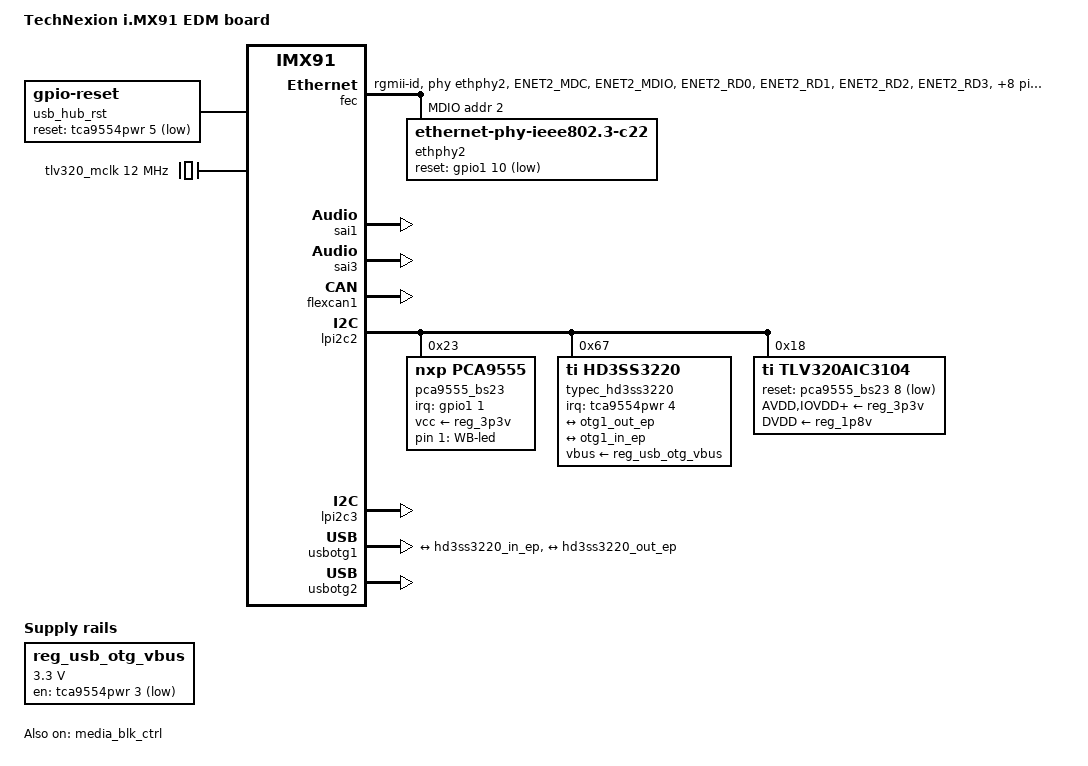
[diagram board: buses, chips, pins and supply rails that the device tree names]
// SPDX-License-Identifier: (GPL-2.0+ OR MIT)
/*
 * Copyright 2024 NXP
 */

/dts-v1/;

#include <dt-bindings/usb/pd.h>
#include <dt-bindings/pwm/pwm.h>
#include "imx91-edm.dtsi"

&ele_fw2 {
	memory-region = <&ele_reserved>;
};

/ {
	model = "TechNexion i.MX91 EDM board";
	compatible = "fsl,imx91-edm", "fsl,imx91";

	chosen {
		stdout-path = &lpuart1;
	};

	reg_usb_otg_vbus: usb_otg_vbus {
		compatible = "regulator-fixed";
		regulator-name = "usb_otg_vbus";
		regulator-min-microvolt = <3300000>;
		regulator-max-microvolt = <3300000>;
		gpio = <&tca9554pwr 3 GPIO_ACTIVE_LOW>;
		enable-active-low;
	};

	usb_hub_rst: usb_hub_rst {
		compatible = "gpio-reset";
		reset-gpios = <&tca9554pwr 5 GPIO_ACTIVE_LOW>;
		reset-delay-us = <10>;
		#reset-cells = <0>;
	};

	disp_backlight: disp_backlight {
		compatible = "pwm-backlight";
		pwms = <&tpm2 0 40000 PWM_POLARITY_INVERTED>;	/* 25KHz PWM */
		/* TPM driver seems revert the value */
		/* brightness-levels = <0 36 72 108 144 180 216 255>; */
		brightness-levels = <255 216 180 144 108 72 36 0>;
		default-brightness-level = <6>;
		power-supply = <&reg_5v>;
		status = "disabled";
	};

	tlv320_mclk: clk-0 {
		#clock-cells = <0>;
		compatible = "fixed-clock";
		clock-frequency = <12000000>;
	};

	sound {
		compatible = "simple-audio-card";
		simple-audio-card,name = "tlv320aic3x-audio";
		simple-audio-card,widgets =
			"Headphone", "Headphone Jack",
			"Microphone", "Mic Jack";
		simple-audio-card,routing =
			"Headphone Jack", "HPLOUT",
			"Headphone Jack", "HPROUT",
			"MIC2R", "Mic Jack",
			"Mic Jack", "Mic Bias";
		simple-audio-card,format = "dsp_b";
		simple-audio-card,bitclock-master = <&sound_master>;
		simple-audio-card,frame-master = <&sound_master>;
		simple-audio-card,bitclock-inversion;
		status = "okay";

		simple-audio-card,cpu {
			sound-dai = <&sai1>;
		};

		sound_master: simple-audio-card,codec {
			sound-dai = <&tlv320aic3104>;
			clocks = <&tlv320_mclk>;
		};
	};

	leds {
		compatible = "gpio-leds";

		led_1 {
			label = "WB-led";
			gpios = <&pca9555_bs23 1 GPIO_ACTIVE_HIGH>;
			default-state = "on";
		};
	};
};

&fec {
	pinctrl-names = "default", "sleep";
	pinctrl-0 = <&pinctrl_fec>;
	pinctrl-1 = <&pinctrl_fec_sleep>;
	phy-mode = "rgmii-id";
	phy-handle = <&ethphy2>;
	fsl,magic-packet;
	status = "okay";

	mdio {
		#address-cells = <1>;
		#size-cells = <0>;
		clock-frequency = <5000000>;

		ethphy2: ethernet-phy@2 {
			/* Atheros AR8035 PHY */
			compatible = "ethernet-phy-ieee802.3-c22";
			reg = <2>;
			pinctrl-names = "default";
			pinctrl-0 = <&pinctrl_fec_rst>;
			reset-gpios = <&gpio1 10 GPIO_ACTIVE_LOW>;
			reset-assert-us = <35000>;
			reset-deassert-us = <75000>;
			eee-broken-1000t;
			at803x,eee-disabled;
			at803x,vddio-1p8v;
			realtek,aldps-disable;
			realtek,clkout-disable;
		};
	};
};

&sai1 {
	status = "okay";
};

&sai3 {
	status = "okay";
};

&flexcan1 {
	status = "okay";
};

&lpi2c2 {
	status = "okay";

	pca9555_bs23: pca9555@23 {
		compatible = "nxp,pca9555";
		reg = <0x23>;
		pinctrl-names = "default";
		pinctrl-0 = <&pinctrl_pca9555_bs23>;
		vcc-supply = <&reg_3p3v>;
		gpio-controller;
		#gpio-cells = <2>;
		interrupt-controller;
		#interrupt-cells = <2>;
		interrupt-parent = <&gpio1>;
		interrupts = <1 IRQ_TYPE_EDGE_FALLING>;
		gpio-line-names = "M2_DISABLE_N", "LED_EN","USB_OTG_OC", "M2_WAN_WAKE",
			"M2_RST_N", "CSI1_PDB","", "PD_FAULT",
			"AUD_A_RST", "CAM_EXT_INT","VH_15_EXT_IO1_2", "VH_P22_EXT_IO1_3","VH_P32_EXT_IO1_4", "VH_P36_EXT_IO1_5","", "";
	};

	typec_hd3ss3220: hd3ss3220@67 {
		compatible = "ti,hd3ss3220";
		interrupts-extended = <&tca9554pwr 4 IRQ_TYPE_EDGE_FALLING>;
		vbus-supply = <&reg_usb_otg_vbus>;
		reg = <0x67>;

		ports {
			#address-cells = <1>;
			#size-cells = <0>;

			port@0 {
				reg = <0>;
				hd3ss3220_in_ep: endpoint {
					remote-endpoint = <&otg1_out_ep>;
				};
			};

			port@1 {
				reg = <1>;
				hd3ss3220_out_ep: endpoint {
					remote-endpoint = <&otg1_in_ep>;
				};
			};
		};
	};

	tlv320aic3104: audio-codec@18 {
		#sound-dai-cells = <0>;
		compatible = "ti,tlv320aic3104";
		reg = <0x18>;
		status = "okay";
		reset-gpios = <&pca9555_bs23 8 GPIO_ACTIVE_LOW>;
		ai3x-ocmv = <0>;
		ai3x-micbias-vg = <1>;		/* 2.0V */

		/* Regulators */
		AVDD-supply = <&reg_3p3v>;
		IOVDD-supply = <&reg_3p3v>;
		DRVDD-supply = <&reg_3p3v>;
		DVDD-supply = <&reg_1p8v>;
	};
};

&lpi2c3 {
	status = "okay";
};

&media_blk_ctrl {
	status = "okay";
};

&usbotg1 {
	status = "okay";

	ports {
		#address-cells = <1>;
		#size-cells = <0>;

		port@0 {
			reg = <0>;
			otg1_out_ep: endpoint {
				remote-endpoint = <&hd3ss3220_in_ep>;
			};
		};

		port@1 {
			reg = <1>;
			otg1_in_ep: endpoint {
				remote-endpoint = <&hd3ss3220_out_ep>;
			};
		};
	};
};

&usbotg2 {
	status = "okay";
};

&gpio1 {
	status = "okay";

	gpio-line-names = "", "PCA9554BS_irq", "", "",
			"", "", "", "",

			"", "", "FEC_PHY_RST", "",
			"", "", "", "",

			"", "", "", "",
			"", "", "", "";
};

&gpio2 {
	status = "okay";

	gpio-line-names = "", "", "", "",
			"", "", "", "",

			"", "", "", "",
			"", "", "", "",

			"", "", "", "",
			"", "", "", "";
};

&gpio3 {
	status = "okay";

	gpio-line-names = "SD_CD", "", "", "",
			"", "", "", "SD_VMMC",

			"", "", "", "",
			"", "", "", "",

			"", "", "", "",
			"", "", "", "",

			"", "", "TOUCH_INTn", "tca9554pwr_IRQn",
			"", "", "", "";
};

&gpio4 {
	status = "okay";

	gpio-line-names = "", "", "", "",
			"", "", "", "",

			"", "", "", "",
			"", "", "", "",

			"", "", "", "",
			"", "", "", "",

			"", "", "", "",
			"EQOS_PHY_RST", "", "", "";
};

&iomuxc {
	pinctrl_pca9555_bs23: pca9555_bs23grp {
		fsl,pins = <
			MX91_PAD_I2C1_SDA__GPIO1_IO1		0x31e
		>;
	};

	pinctrl_fec: fecgrp {
		fsl,pins = <
			MX91_PAD_ENET2_MDC__ENET2_MDC			0x57e
			MX91_PAD_ENET2_MDIO__ENET2_MDIO			0x57e
			MX91_PAD_ENET2_RD0__ENET2_RGMII_RD0		0x57e
			MX91_PAD_ENET2_RD1__ENET2_RGMII_RD1		0x57e
			MX91_PAD_ENET2_RD2__ENET2_RGMII_RD2		0x57e
			MX91_PAD_ENET2_RD3__ENET2_RGMII_RD3		0x57e
			MX91_PAD_ENET2_RXC__ENET2_RGMII_RXC		0x5fe
			MX91_PAD_ENET2_RX_CTL__ENET2_RGMII_RX_CTL	0x57e
			MX91_PAD_ENET2_TD0__ENET2_RGMII_TD0		0x57e
			MX91_PAD_ENET2_TD1__ENET2_RGMII_TD1		0x57e
			MX91_PAD_ENET2_TD2__ENET2_RGMII_TD2		0x57e
			MX91_PAD_ENET2_TD3__ENET2_RGMII_TD3		0x57e
			MX91_PAD_ENET2_TXC__ENET2_RGMII_TXC		0x5fe
			MX91_PAD_ENET2_TX_CTL__ENET2_RGMII_TX_CTL	0x57e
		>;
	};

	pinctrl_fec_sleep: fecsleepgrp {
		fsl,pins = <
			MX91_PAD_ENET2_MDC__GPIO4_IO14			0x51e
			MX91_PAD_ENET2_MDIO__GPIO4_IO15			0x51e
			MX91_PAD_ENET2_RD0__GPIO4_IO24			0x51e
			MX91_PAD_ENET2_RD1__GPIO4_IO25			0x51e
			MX91_PAD_ENET2_RD2__GPIO4_IO26			0x51e
			MX91_PAD_ENET2_RD3__GPIO4_IO27			0x51e
			MX91_PAD_ENET2_RXC__GPIO4_IO23                  0x51e
			MX91_PAD_ENET2_RX_CTL__GPIO4_IO22		0x51e
			MX91_PAD_ENET2_TD0__GPIO4_IO19			0x51e
			MX91_PAD_ENET2_TD1__GPIO4_IO18			0x51e
			MX91_PAD_ENET2_TD2__GPIO4_IO17			0x51e
			MX91_PAD_ENET2_TD3__GPIO4_IO16			0x51e
			MX91_PAD_ENET2_TXC__GPIO4_IO21                  0x51e
			MX91_PAD_ENET2_TX_CTL__GPIO4_IO20               0x51e
		>;
	};

	pinctrl_fec_rst: fecrstgrp {
		fsl,pins = <
			MX91_PAD_PDM_BIT_STREAM1__GPIO1_IO10		0x31e
		>;
	};
};
